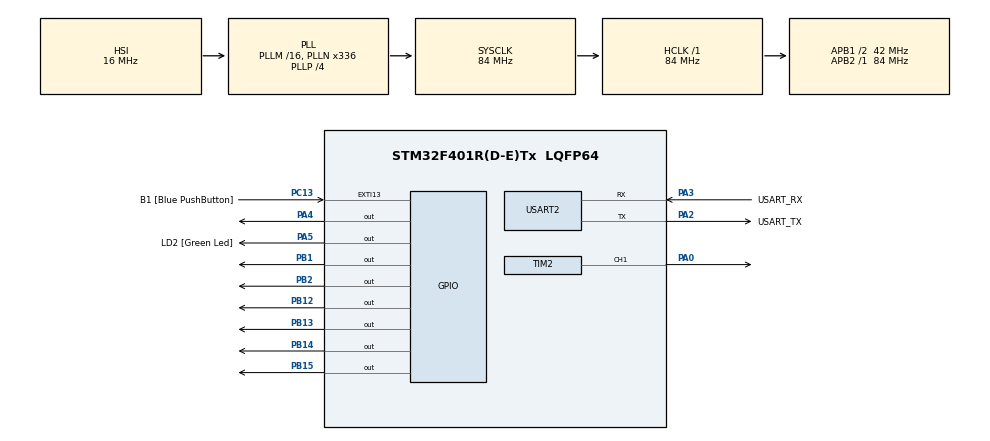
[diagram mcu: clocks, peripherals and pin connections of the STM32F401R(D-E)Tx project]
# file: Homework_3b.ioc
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Mcu.Family=STM32F4
Mcu.Name=STM32F401R(D-E)Tx
Mcu.Package=LQFP64
NVIC.PriorityGroup=NVIC_PRIORITYGROUP_0
NVIC.TIM2_IRQn=true\:0\:0\:false\:false\:true\:true\:true\:true
PA0-WKUP.Signal=S_TIM2_CH1_ETR
PA13.GPIO_Label=TMS
PA13.Mode=Serial_Wire
PA13.Signal=SYS_JTMS-SWDIO
PA14.GPIO_Label=TCK
PA14.Mode=Serial_Wire
PA14.Signal=SYS_JTCK-SWCLK
PA2.GPIO_Label=USART_TX
PA2.GPIO_Mode=GPIO_MODE_AF_PP
PA2.GPIO_PuPd=GPIO_NOPULL
PA2.GPIO_Speed=GPIO_SPEED_FREQ_LOW
PA2.Mode=Asynchronous
PA2.Signal=USART2_TX
PA3.GPIO_Label=USART_RX
PA3.GPIO_Mode=GPIO_MODE_AF_PP
PA3.GPIO_PuPd=GPIO_NOPULL
PA3.GPIO_Speed=GPIO_SPEED_FREQ_LOW
PA3.Mode=Asynchronous
PA3.Signal=USART2_RX
PA4.Signal=GPIO_Output
PA5.GPIO_Label=LD2 [Green Led]
PA5.GPIO_Mode=GPIO_MODE_OUTPUT_PP
PA5.GPIO_PuPd=GPIO_NOPULL
PA5.GPIO_Speed=GPIO_SPEED_FREQ_LOW
PA5.Signal=GPIO_Output
PB1.Signal=GPIO_Output
PB12.Signal=GPIO_Output
PB13.Signal=GPIO_Output
PB14.Signal=GPIO_Output
PB15.Signal=GPIO_Output
PB2.Signal=GPIO_Output
PB3.GPIO_Label=SWO
PB3.Signal=SYS_JTDO-SWO
PC13-ANTI_TAMP.GPIO_Label=B1 [Blue PushButton]
PC13-ANTI_TAMP.GPIO_ModeDefaultEXTI=GPIO_MODE_IT_FALLING
PC13-ANTI_TAMP.GPIO_PuPd=GPIO_NOPULL
PC13-ANTI_TAMP.Signal=GPXTI13
PC14-OSC32_IN.Mode=LSE-External-Oscillator
PC14-OSC32_IN.Signal=RCC_OSC32_IN
PC15-OSC32_OUT.Mode=LSE-External-Oscillator
PC15-OSC32_OUT.Signal=RCC_OSC32_OUT
PH0\ -\ OSC_IN.Mode=HSE-External-Clock-Source
PH0\ -\ OSC_IN.Signal=RCC_OSC_IN
PH1\ -\ OSC_OUT.Mode=HSE-External-Clock-Source
PH1\ -\ OSC_OUT.Signal=RCC_OSC_OUT
ProjectManager.HeapSize=0x200
ProjectManager.StackSize=0x400
ProjectManager.TargetToolchain=STM32CubeIDE
RCC.48MHZClocksFreq_Value=48000000
RCC.AHBFreq_Value=84000000
RCC.APB1CLKDivider=RCC_HCLK_DIV2
RCC.APB1Freq_Value=42000000
RCC.APB1TimFreq_Value=84000000
RCC.APB2Freq_Value=84000000
RCC.APB2TimFreq_Value=84000000
RCC.CortexFreq_Value=84000000
RCC.HCLKFreq_Value=84000000
RCC.HSE_VALUE=8000000
RCC.HSI_VALUE=16000000
RCC.PLLN=336
RCC.PLLP=RCC_PLLP_DIV4
RCC.PLLQ=7
RCC.SYSCLKFreq_VALUE=84000000
RCC.SYSCLKSource=RCC_SYSCLKSOURCE_PLLCLK
RCC.VCOOutputFreq_Value=336000000
SH.S_TIM2_CH1_ETR.0=TIM2_CH1,Output Compare1 CH1
TIM2.Channel-Output\ Compare1\ CH1=TIM_CHANNEL_1
TIM2.Period=10000-1
TIM2.Prescaler=8400-1
USART2.VirtualMode=VM_ASYNC
board=NUCLEO-F401RE

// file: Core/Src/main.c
/* USER CODE BEGIN Header */
/**
  ******************************************************************************
  * @file           : main.c
  * @brief          : Main program body
  ******************************************************************************
  * @attention
  *
  * Copyright (c) 2023 STMicroelectronics.
  * All rights reserved.
  *
  * This software is licensed under terms that can be found in the LICENSE file
  * in the root directory of this software component.
  * If no LICENSE file comes with this software, it is provided AS-IS.
  *
  ******************************************************************************
  */
/* USER CODE END Header */
#include "main.h"

/* USER CODE BEGIN Includes */
#include "PMDB16_LCD.h"
/* USER CODE END Includes */

TIM_HandleTypeDef htim2;

UART_HandleTypeDef huart2;

/* USER CODE BEGIN PV */
// Declare an array of strings
char *names[5] = {"Alessandro Perna", "Alessia Moretto", "Francesco Pall8", "Ludovico Ventura", "Pietro Monti"};
uint16_t name_counter = 0;
/* USER CODE END PV */

void SystemClock_Config(void);
static void MX_GPIO_Init(void);
static void MX_USART2_UART_Init(void);
static void MX_TIM2_Init(void);

/* USER CODE BEGIN 0 */
void HAL_TIM_PeriodElapsedCallback(TIM_HandleTypeDef *htim){
	if (htim == &htim2){
		if (name_counter == (sizeof(names)/sizeof(names[0])-1)){
			lcd_println(names[name_counter], 0);
			lcd_println(names[0], 1);
			name_counter = 0;
		} else{
			lcd_println(names[name_counter], 0);
			lcd_println(names[name_counter+1], 1);
			name_counter++;
		}
	}
}
/* USER CODE END 0 */

int main(void)
{

  /* MCU Configuration--------------------------------------------------------*/

  /* Reset of all peripherals, Initializes the Flash interface and the Systick. */
  HAL_Init();

  /* Configure the system clock */
  SystemClock_Config();

  /* Initialize all configured peripherals */
  MX_GPIO_Init();
  MX_USART2_UART_Init();
  MX_TIM2_Init();
  /* USER CODE BEGIN 2 */
	lcd_initialize();
	lcd_backlight_ON();

	//Show first name as this is a one time only situation
	lcd_println(names[0], 1);

	__HAL_TIM_CLEAR_FLAG(&htim2, TIM_FLAG_UPDATE);
	HAL_TIM_Base_Start_IT(&htim2);
  /* USER CODE END 2 */

  /* Infinite loop */
  while (1)
  {

  }
}

void SystemClock_Config(void)
{
  RCC_OscInitTypeDef RCC_OscInitStruct = {0};
  RCC_ClkInitTypeDef RCC_ClkInitStruct = {0};

  /** Configure the main internal regulator output voltage
  */
  __HAL_RCC_PWR_CLK_ENABLE();
  __HAL_PWR_VOLTAGESCALING_CONFIG(PWR_REGULATOR_VOLTAGE_SCALE2);

  /** Initializes the RCC Oscillators according to the specified parameters
  * in the RCC_OscInitTypeDef structure.
  */
  RCC_OscInitStruct.OscillatorType = RCC_OSCILLATORTYPE_HSI;
  RCC_OscInitStruct.HSIState = RCC_HSI_ON;
  RCC_OscInitStruct.HSICalibrationValue = RCC_HSICALIBRATION_DEFAULT;
  RCC_OscInitStruct.PLL.PLLState = RCC_PLL_ON;
  RCC_OscInitStruct.PLL.PLLSource = RCC_PLLSOURCE_HSI;
  RCC_OscInitStruct.PLL.PLLM = 16;
  RCC_OscInitStruct.PLL.PLLN = 336;
  RCC_OscInitStruct.PLL.PLLP = RCC_PLLP_DIV4;
  RCC_OscInitStruct.PLL.PLLQ = 7;
  if (HAL_RCC_OscConfig(&RCC_OscInitStruct) != HAL_OK)
  {
    Error_Handler();
  }

  /** Initializes the CPU, AHB and APB buses clocks
  */
  RCC_ClkInitStruct.ClockType = RCC_CLOCKTYPE_HCLK|RCC_CLOCKTYPE_SYSCLK
                              |RCC_CLOCKTYPE_PCLK1|RCC_CLOCKTYPE_PCLK2;
  RCC_ClkInitStruct.SYSCLKSource = RCC_SYSCLKSOURCE_PLLCLK;
  RCC_ClkInitStruct.AHBCLKDivider = RCC_SYSCLK_DIV1;
  RCC_ClkInitStruct.APB1CLKDivider = RCC_HCLK_DIV2;
  RCC_ClkInitStruct.APB2CLKDivider = RCC_HCLK_DIV1;

  if (HAL_RCC_ClockConfig(&RCC_ClkInitStruct, FLASH_LATENCY_2) != HAL_OK)
  {
    Error_Handler();
  }
}

static void MX_TIM2_Init(void)
{

  TIM_MasterConfigTypeDef sMasterConfig = {0};
  TIM_OC_InitTypeDef sConfigOC = {0};

  htim2.Instance = TIM2;
  htim2.Init.Prescaler = 8400-1;
  htim2.Init.CounterMode = TIM_COUNTERMODE_UP;
  htim2.Init.Period = 10000-1;
  htim2.Init.ClockDivision = TIM_CLOCKDIVISION_DIV1;
  htim2.Init.AutoReloadPreload = TIM_AUTORELOAD_PRELOAD_DISABLE;
  if (HAL_TIM_OC_Init(&htim2) != HAL_OK)
  {
    Error_Handler();
  }
  sMasterConfig.MasterOutputTrigger = TIM_TRGO_RESET;
  sMasterConfig.MasterSlaveMode = TIM_MASTERSLAVEMODE_DISABLE;
  if (HAL_TIMEx_MasterConfigSynchronization(&htim2, &sMasterConfig) != HAL_OK)
  {
    Error_Handler();
  }
  sConfigOC.OCMode = TIM_OCMODE_TIMING;
  sConfigOC.Pulse = 0;
  sConfigOC.OCPolarity = TIM_OCPOLARITY_HIGH;
  sConfigOC.OCFastMode = TIM_OCFAST_DISABLE;
  if (HAL_TIM_OC_ConfigChannel(&htim2, &sConfigOC, TIM_CHANNEL_1) != HAL_OK)
  {
    Error_Handler();
  }
  HAL_TIM_MspPostInit(&htim2);

}

static void MX_USART2_UART_Init(void)
{

  huart2.Instance = USART2;
  huart2.Init.BaudRate = 115200;
  huart2.Init.WordLength = UART_WORDLENGTH_8B;
  huart2.Init.StopBits = UART_STOPBITS_1;
  huart2.Init.Parity = UART_PARITY_NONE;
  huart2.Init.Mode = UART_MODE_TX_RX;
  huart2.Init.HwFlowCtl = UART_HWCONTROL_NONE;
  huart2.Init.OverSampling = UART_OVERSAMPLING_16;
  if (HAL_UART_Init(&huart2) != HAL_OK)
  {
    Error_Handler();
  }

}

static void MX_GPIO_Init(void)
{
  GPIO_InitTypeDef GPIO_InitStruct = {0};

  /* GPIO Ports Clock Enable */
  __HAL_RCC_GPIOC_CLK_ENABLE();
  __HAL_RCC_GPIOH_CLK_ENABLE();
  __HAL_RCC_GPIOA_CLK_ENABLE();
  __HAL_RCC_GPIOB_CLK_ENABLE();

  /*Configure GPIO pin Output Level */
  HAL_GPIO_WritePin(GPIOA, GPIO_PIN_4|LD2_Pin, GPIO_PIN_RESET);

  /*Configure GPIO pin Output Level */
  HAL_GPIO_WritePin(GPIOB, GPIO_PIN_1|GPIO_PIN_2|GPIO_PIN_12|GPIO_PIN_13
                          |GPIO_PIN_14|GPIO_PIN_15, GPIO_PIN_RESET);

  /*Configure GPIO pin : B1_Pin */
  GPIO_InitStruct.Pin = B1_Pin;
  GPIO_InitStruct.Mode = GPIO_MODE_IT_FALLING;
  GPIO_InitStruct.Pull = GPIO_NOPULL;
  HAL_GPIO_Init(B1_GPIO_Port, &GPIO_InitStruct);

  /*Configure GPIO pins : PA4 LD2_Pin */
  GPIO_InitStruct.Pin = GPIO_PIN_4|LD2_Pin;
  GPIO_InitStruct.Mode = GPIO_MODE_OUTPUT_PP;
  GPIO_InitStruct.Pull = GPIO_NOPULL;
  GPIO_InitStruct.Speed = GPIO_SPEED_FREQ_LOW;
  HAL_GPIO_Init(GPIOA, &GPIO_InitStruct);

  /*Configure GPIO pins : PB1 PB2 PB12 PB13
                           PB14 PB15 */
  GPIO_InitStruct.Pin = GPIO_PIN_1|GPIO_PIN_2|GPIO_PIN_12|GPIO_PIN_13
                          |GPIO_PIN_14|GPIO_PIN_15;
  GPIO_InitStruct.Mode = GPIO_MODE_OUTPUT_PP;
  GPIO_InitStruct.Pull = GPIO_NOPULL;
  GPIO_InitStruct.Speed = GPIO_SPEED_FREQ_LOW;
  HAL_GPIO_Init(GPIOB, &GPIO_InitStruct);

}

void Error_Handler(void)
{
  __disable_irq();
  while (1)
  {
  }
}
